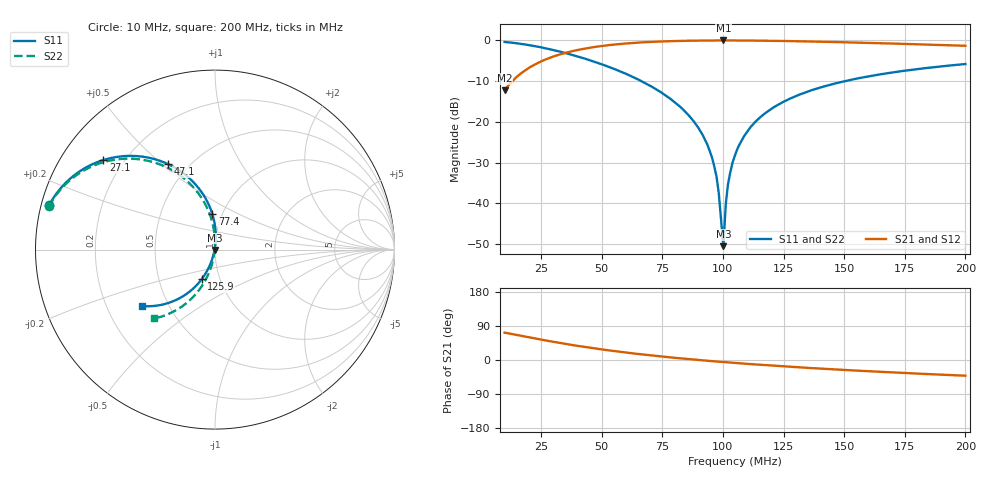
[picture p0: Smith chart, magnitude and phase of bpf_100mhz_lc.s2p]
! Touchstone 2-Port S-Parameter Data
! Circuit: 100MHz Shunted LC Tank Bandpass Filter (50Ω)
! Substrate: FR4 (er=4.4, h=1.6mm)
! Transmission Line: CPWG (w=1.87mm, s=0.40mm, eps_eff=2.88)
! Simulation Mode: traces
# GHz S MA R 50.0
! Freq(GHz)  S11_mag S11_ang  S21_mag S21_ang  S12_mag S12_ang  S22_mag S22_ang
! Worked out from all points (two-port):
!   201 points, 10 MHz to 200 MHz, reference 50 ohm
!   highest |S21| = -0.02 dB at 100.2 MHz (marker M1); lowest = -12.3 dB at 10 MHz (marker M2)
!   |S21| within 3 dB of the highest: 35.41 MHz to end of sweep
!   lowest |S11| = -50.5 dB at 100.2 MHz (marker M3), VSWR 1.01, Z = 49.7 - j0.154 ohm
!   |S11| at or under -10 dB: 66.37 MHz to 150.4 MHz (84.01 MHz wide, 77.5 % of centre)
!   |S22| runs from -50.5 to -0.4 dB; largest |S21 - S12| = 0
!   S11 on the Smith chart (normalised r, x): 10 MHz: 0.02, +0.13; 27.1 MHz: 0.13, +0.35; 47.1 MHz: 0.38, +0.52; 77.4 MHz: 0.90, +0.37; 125.9 MHz: 0.82, -0.28; 200 MHz: 0.36, -0.30
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0.01  0.9564 164.9  0.2432 72.2  0.2432 72.2  0.9564 165.4
0.0166  0.9072 155.2  0.3907 64.2  0.3907 64.2  0.9072 156.1
0.0271  0.7973 141.2  0.5862 51.4  0.5862 51.4  0.7973 142.7
0.0423  0.6065 123.8  0.7854 35.1  0.7854 35.1  0.6065 126.0
0.0471  0.5461 119.0  0.8294 30.6  0.8294 30.6  0.5461 121.5
0.0736  0.2391 97.0  0.9671 9.9  0.9671 9.9  0.2391 100.9
0.0774  0.2007 94.4  0.9761 7.5  0.9761 7.5  0.2007 98.5
0.0879  0.1021 88.1  0.9919 1.2  0.9919 1.2  0.1021 92.8
0.0917  0.06873 86.4  0.995 -0.9  0.995 -0.9  0.06873 91.3
0.0945  0.04452 85.7  0.9965 -2.5  0.9965 -2.5  0.04452 90.7
0.0974  0.02103 87.2  0.9975 -4.0  0.9975 -4.0  0.02103 92.4
0.0983  0.01339 90.2  0.9976 -4.5  0.9976 -4.5  0.01339 95.4
0.1002  0.00297 -148.5  0.9978 -5.4  0.9978 -5.4  0.00297 -143.2
0.1012  0.009726 -114.1  0.9978 -5.9  0.9978 -5.9  0.009726 -108.7
0.1021  0.01704 -108.9  0.9977 -6.4  0.9977 -6.4  0.01704 -103.5
0.105  0.0388 -106.3  0.9972 -7.8  0.9972 -7.8  0.0388 -100.8
0.1088  0.06696 -107.0  0.9959 -9.6  0.9959 -9.6  0.06696 -101.2
0.1135  0.1007 -108.8  0.9932 -11.8  0.9932 -11.8  0.1007 -102.8
0.1259  0.1816 -114.2  0.982 -17.1  0.982 -17.1  0.1816 -107.6
0.1373  0.2482 -119.2  0.9676 -21.6  0.9676 -21.6  0.2482 -111.9
0.1687  0.3987 -131.5  0.9164 -32.4  0.9164 -32.4  0.3987 -122.5
0.2  0.5123 -142.1  0.8583 -41.4  0.8583 -41.4  0.5123 -131.5
